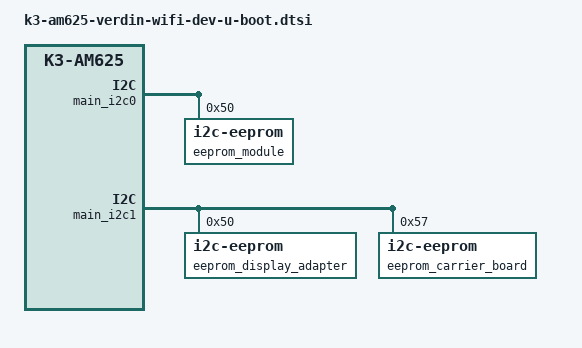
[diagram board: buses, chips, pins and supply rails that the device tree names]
// SPDX-License-Identifier: GPL-2.0-or-later OR MIT
/*
 * Copyright 2023 Toradex
 */

#include "k3-am625-verdin-wifi-dev-binman.dtsi"

/ {
	aliases {
		eeprom0 = &eeprom_module;
		eeprom1 = &eeprom_carrier_board;
		eeprom2 = &eeprom_display_adapter;
	};

	chosen {
		tick-timer = &main_timer0;
	};

	memory@80000000 {
		bootph-all;
	};

	sysinfo {
		compatible = "toradex,sysinfo";
	};
};

&main_timer0 {
	clock-frequency = <25000000>;
};

&main_bcdma {
	reg = <0x00 0x485c0100 0x00 0x100>,
	      <0x00 0x4c000000 0x00 0x20000>,
	      <0x00 0x4a820000 0x00 0x20000>,
	      <0x00 0x4aa40000 0x00 0x20000>,
	      <0x00 0x4bc00000 0x00 0x100000>,
	      <0x00 0x48600000 0x00 0x8000>,
	      <0x00 0x484a4000 0x00 0x2000>,
	      <0x00 0x484c2000 0x00 0x2000>;
	reg-names = "gcfg", "bchanrt", "rchanrt", "tchanrt",
		    "ringrt" , "cfg", "tchan", "rchan";
	bootph-all;
};

&main_pktdma {
	reg = <0x00 0x485c0000 0x00 0x100>,
	      <0x00 0x4a800000 0x00 0x20000>,
	      <0x00 0x4aa00000 0x00 0x20000>,
	      <0x00 0x4b800000 0x00 0x200000>,
	      <0x00 0x485e0000 0x00 0x10000>,
	      <0x00 0x484a0000 0x00 0x2000>,
	      <0x00 0x484c0000 0x00 0x2000>,
	      <0x00 0x48430000 0x00 0x1000>;
	reg-names = "gcfg", "rchanrt", "tchanrt", "ringrt",
		    "cfg", "tchan", "rchan", "rflow";
	bootph-all;
};

&cpsw3g {
	bootph-all;
};

&cpsw3g_phy0 {
	bootph-all;
};

&cpsw3g_phy1 {
	bootph-all;
};

&cpsw_port1 {
	bootph-all;
};

&cpsw_port2 {
	bootph-all;
};

/* MDIO, shared by Verdin ETH_1 (On-module PHY) and Verdin ETH_2_RGMII */
&cpsw3g_mdio {
	/delete-property/ assigned-clocks;
	/delete-property/ assigned-clock-parents;
	/delete-property/ assigned-clock-rates;
	bootph-all;
};

&dmsc {
	k3_sysreset: sysreset-controller {
		compatible = "ti,sci-sysreset";
		bootph-all;
	};
};

&fss {
	bootph-all;
};

&main_gpio0 {
	bootph-all;
};

/* On-module I2C - PMIC_I2C */
&main_i2c0 {
	eeprom_module: eeprom@50 {
		compatible = "i2c-eeprom";
		pagesize = <16>;
		reg = <0x50>;
	};
};

/* Verdin I2C_1 */
&main_i2c1 {
	/* EEPROM on display adapter (MIPI DSI Display Adapter) */
	eeprom_display_adapter: eeprom@50 {
		compatible = "i2c-eeprom";
		reg = <0x50>;
		pagesize = <16>;
	};

	/* EEPROM on carrier board */
	eeprom_carrier_board: eeprom@57 {
		compatible = "i2c-eeprom";
		reg = <0x57>;
		pagesize = <16>;
	};
};

/* Verdin UART_3, used as the Linux console */
&main_uart0 {
	bootph-all;
};

/* Verdin UART_1 */
&main_uart1 {
	bootph-all;
};

&pinctrl_ctrl_sleep_moci {
	bootph-all;
};

&pinctrl_i2c0 {
	bootph-all;
};

&pinctrl_i2c1 {
	bootph-all;
};

&pinctrl_sdhci0 {
	bootph-all;
};

&pinctrl_uart0 {
	bootph-all;
};

&pinctrl_uart1 {
	bootph-all;
};

&pinctrl_wkup_uart0 {
	bootph-all;
};

&sdhci0 {
	bootph-all;
};

&sdhci2 {
	status = "disabled";
};

&verdin_ctrl_sleep_moci {
	bootph-all;
};

/* Verdin UART_2 */
&wkup_uart0 {
	bootph-all;
};
